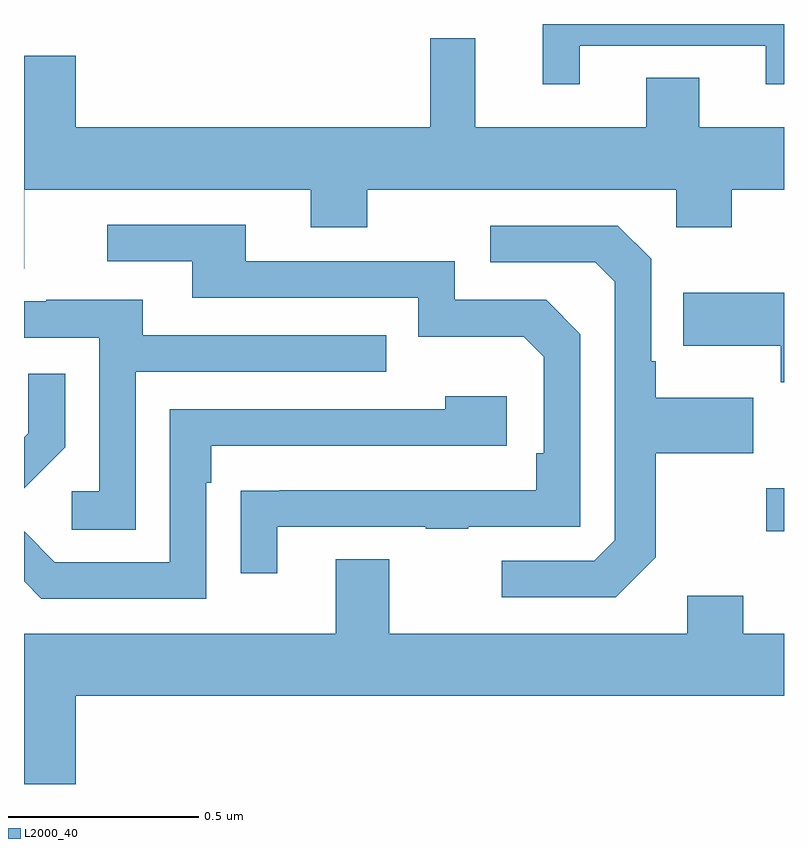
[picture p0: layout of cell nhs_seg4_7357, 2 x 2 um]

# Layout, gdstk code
import gdstk
lib = gdstk.Library(unit=1e-6, precision=1e-09)
def R(c, l, rs):  # rectangles x0, y0, x1, y1
    for r in rs: c.add(gdstk.rectangle(r[:2], r[2:], *l))
def P(c, l, *ps):  # polygons
    for p in ps: c.add(gdstk.Polygon(p, *l))
L2000_40 = (2000, 40)

nhs_seg4_7357 = lib.new_cell('nhs_seg4_7357')
R(nhs_seg4_7357, L2000_40, [(202.953,818.565,203,818.678)])
P(nhs_seg4_7357, L2000_40, [(202.462,819.843),(202.952,819.843),(202.952,819.741),(203,819.741),(203,819.9),(202.365,819.9),(202.365,819.741),(202.462,819.741)],
  [(201.001,819.464),(201.755,819.464),(201.755,819.365),(201.903,819.365),(201.903,819.464),(202.716,819.464),(202.716,819.365),(202.863,819.365),(202.863,819.464),(203,819.464),(203,819.628),(202.777,819.628),(202.777,819.758),(202.637,819.758),(202.637,819.628),(202.187,819.628),(202.187,819.862),(202.069,819.862),(202.069,819.628),(201.136,819.628),(201.136,819.817),(201,819.817),(201,819.256),(201.001,819.256)],
  [(201.667,818.577),(202.057,818.577),(202.057,818.572),(202.169,818.572),(202.169,818.577),(202.464,818.577),(202.464,819.084),(202.374,819.174),(202.134,819.174),(202.134,819.276),(201.583,819.276),(201.583,819.372),(201.219,819.372),(201.219,819.276),(201.443,819.276),(201.443,819.18),(202.038,819.18),(202.038,819.077),(202.315,819.077),(202.368,819.024),(202.368,818.77),(202.348,818.77),(202.348,818.673),(201.673,818.673),(201.673,818.672),(201.571,818.672),(201.571,818.454),(201.667,818.454)],
  [(202.663,818.497),(202.663,818.77),(202.919,818.77),(202.919,818.917),(202.663,818.917),(202.663,819.013),(202.65,819.013),(202.65,819.282),(202.563,819.369),(202.227,819.369),(202.227,819.273),(202.503,819.273),(202.554,819.222),(202.554,818.541),(202.5,818.487),(202.257,818.487),(202.257,818.391),(202.557,818.391)],
  [(203,819.193),(202.735,819.193),(202.735,819.053),(202.992,819.053),(202.992,818.957),(203,818.957)],
  [(201.294,818.985),(201.953,818.985),(201.953,819.081),(201.313,819.081),(201.313,819.175),(201.059,819.175),(201.059,819.171),(201,819.171),(201,819.075),(201.198,819.075),(201.198,818.67),(201.126,818.67),(201.126,818.569),(201.294,818.569)],
  [(201.108,818.786),(201.108,818.98),(201.011,818.98),(201.011,818.823),(201,818.812),(201,818.678)],
  [(201.48,818.693),(201.493,818.693),(201.493,818.79),(202.27,818.79),(202.27,818.92),(202.109,818.92),(202.109,818.886),(201.384,818.886),(201.384,818.484),(201.081,818.484),(201,818.565),(201,818.433),(201.045,818.388),(201.48,818.388)],
  [(201.136,818.132),(203,818.132),(203,818.296),(202.893,818.296),(202.893,818.395),(202.745,818.395),(202.745,818.296),(201.961,818.296),(201.961,818.491),(201.821,818.491),(201.821,818.296),(201,818.296),(201,817.9),(201.136,817.9)])

lib.write_gds('nhs_seg4_7357.gds')
